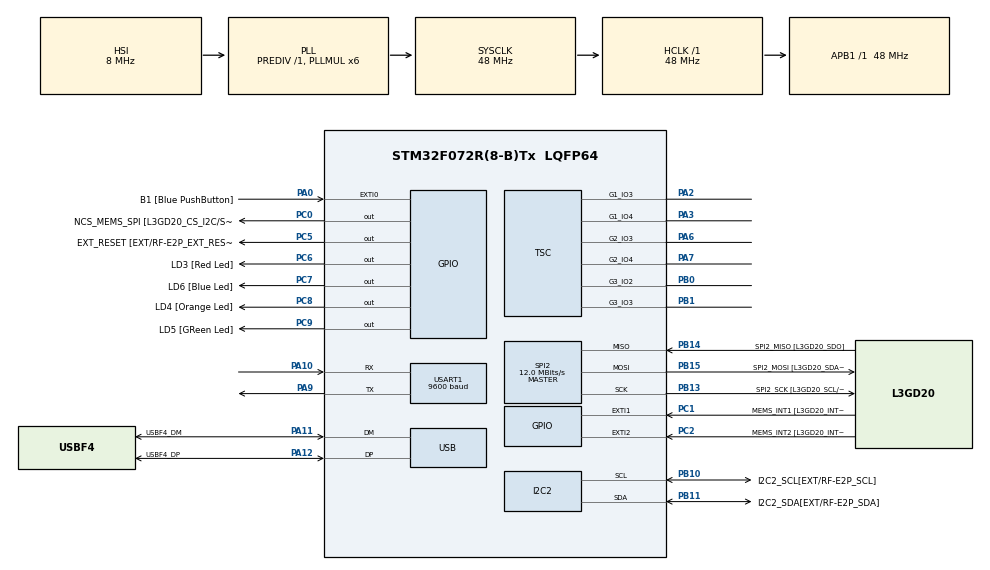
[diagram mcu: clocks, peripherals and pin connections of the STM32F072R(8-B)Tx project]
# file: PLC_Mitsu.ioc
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I2C2.Timing=0x20303E5D
Mcu.Family=STM32F0
Mcu.Name=STM32F072R(8-B)Tx
Mcu.Package=LQFP64
PA0.GPIO_Label=B1 [Blue PushButton]
PA0.GPIO_ModeDefaultEXTI=GPIO_MODE_EVT_RISING
PA0.Signal=GPXTI0
PA10.Mode=Asynchronous
PA10.Signal=USART1_RX
PA11.GPIO_Label=USBF4_DM
PA11.Mode=Device
PA11.Signal=USB_DM
PA12.GPIO_Label=USBF4_DP
PA12.Mode=Device
PA12.Signal=USB_DP
PA13.GPIO_Label=SWDIO
PA13.Mode=Serial_Wire
PA13.Signal=SYS_SWDIO
PA14.GPIO_Label=SWCLK
PA14.Mode=Serial_Wire
PA14.Signal=SYS_SWCLK
PA2.Mode=G1_IO3-Channel
PA2.Signal=TSC_G1_IO3
PA3.Mode=G1_IO4-Sampling
PA3.Signal=TSC_G1_IO4
PA6.Mode=G2_IO3-Channel
PA6.Signal=TSC_G2_IO3
PA7.Mode=G2_IO4-Sampling
PA7.Signal=TSC_G2_IO4
PA9.Mode=Asynchronous
PA9.Signal=USART1_TX
PB0.Mode=G3_IO2-Channel
PB0.Signal=TSC_G3_IO2
PB1.Mode=G3_IO3-Sampling
PB1.Signal=TSC_G3_IO3
PB10.GPIO_Label=I2C2_SCL[EXT/RF-E2P_SCL]
PB10.Mode=I2C
PB10.Signal=I2C2_SCL
PB11.GPIO_Label=I2C2_SDA[EXT/RF-E2P_SDA]
PB11.Mode=I2C
PB11.Signal=I2C2_SDA
PB13.GPIO_Label=SPI2_SCK [L3GD20_SCL/SPC]
PB13.Mode=Full_Duplex_Master
PB13.Signal=SPI2_SCK
PB14.GPIO_Label=SPI2_MISO [L3GD20_SDO]
PB14.Mode=Full_Duplex_Master
PB14.Signal=SPI2_MISO
PB15.GPIO_Label=SPI2_MOSI [L3GD20_SDA/SDI]
PB15.Mode=Full_Duplex_Master
PB15.Signal=SPI2_MOSI
PC0.GPIO_Label=NCS_MEMS_SPI [L3GD20_CS_I2C/SPI]
PC0.Signal=GPIO_Output
PC1.GPIO_Label=MEMS_INT1 [L3GD20_INT1]
PC1.GPIO_ModeDefaultEXTI=GPIO_MODE_EVT_RISING
PC1.Signal=GPXTI1
PC2.GPIO_Label=MEMS_INT2 [L3GD20_INT2]
PC2.GPIO_ModeDefaultEXTI=GPIO_MODE_EVT_RISING
PC2.Signal=GPXTI2
PC5.GPIO_Label=EXT_RESET [EXT/RF-E2P_EXT_RESET]
PC5.Signal=GPIO_Output
PC6.GPIO_Label=LD3 [Red Led]
PC6.Signal=GPIO_Output
PC7.GPIO_Label=LD6 [Blue Led]
PC7.Signal=GPIO_Output
PC8.GPIO_Label=LD4 [Orange Led]
PC8.Signal=GPIO_Output
PC9.GPIO_Label=LD5 [GReen Led]
PC9.Signal=GPIO_Output
ProjectManager.HeapSize=0x200
ProjectManager.StackSize=0x400
ProjectManager.TargetToolchain=STM32CubeIDE
RCC.AHBFreq_Value=48000000
RCC.APB1Freq_Value=48000000
RCC.APB1TimFreq_Value=48000000
RCC.HCLKFreq_Value=48000000
RCC.PLLMUL=RCC_PLL_MUL6
RCC.SYSCLKFreq_VALUE=48000000
RCC.SYSCLKSource=RCC_SYSCLKSOURCE_PLLCLK
SPI2.BaudRatePrescaler=SPI_BAUDRATEPRESCALER_4
SPI2.CalculateBaudRate=12.0 MBits/s
SPI2.Direction=SPI_DIRECTION_2LINES
SPI2.Mode=SPI_MODE_MASTER
SPI2.VirtualType=VM_MASTER
USART1.BaudRate=9600
USART1.Parity=PARITY_EVEN
USART1.VirtualMode-Asynchronous=VM_ASYNC
USB.phy_itface=PCD_PHY_EMBEDDED
USB.speed=PCD_SPEED_FULL
board=STM32F072B-DISCO

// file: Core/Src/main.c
/* USER CODE BEGIN Header */
/**
  ******************************************************************************
  * @file           : main.c
  * @brief          : Main program body
  ******************************************************************************
  * @attention
  *
  * <h2><center>&copy; Copyright (c) 2020 STMicroelectronics.
  * All rights reserved.</center></h2>
  *
  * This software component is licensed by ST under BSD 3-Clause license,
  * the "License"; You may not use this file except in compliance with the
  * License. You may obtain a copy of the License at:
  *                        opensource.org/licenses/BSD-3-Clause
  *
  ******************************************************************************
  */
/* USER CODE END Header */

#include "stdio.h"
#include "stdint.h"
#include "string.h"
#include "main.h"
#include "i2c.h"
#include "spi.h"
#include "tsc.h"
#include "usart.h"
#include "usb.h"
#include "gpio.h"

/* USER CODE BEGIN Includes */
#include "PLC_MITSU.h"

/* USER CODE END Includes */

/* USER CODE BEGIN PTD */

SystemStatus Sys_CurState=STATUS_OK;
/* USER CODE END PTD */

/* USER CODE BEGIN PD */

/*!
 * System status message
 */
static const char* SystemStatusMessage[] =
{
    "OK",
    "Error",
	"Busy",
    "TX timeout",
	"RX timeout"
};
/* USER CODE END PD */

void SystemClock_Config(void);
/* USER CODE BEGIN PFP */
#if DEBUG_PROBE

#ifdef __GNUC__
  /* With GCC/RAISONANCE, small printf (option LD Linker->Libraries->Small printf
     set to 'Yes') calls __io_putchar() */
  #define PUTCHAR_PROTOTYPE int __io_putchar(int ch)
#else
  #define PUTCHAR_PROTOTYPE int fputc(int ch, FILE *f)
#endif /* __GNUC__ */

/**
  * @brief  Retargets the C library printf function to the USART.
  * @param  None
  * @retval None
  */
PUTCHAR_PROTOTYPE
{
    /* Place your implementation of fputc here */
    /* e.g. write a character to the USART */
    HAL_UART_Transmit(&huart1, (uint8_t *)&ch, 1, 100);

    return ch;
}
#endif /*End of DEBUG_PROBE*/

void UpdateStatus(SystemStatus newStatus);
/* USER CODE END PFP */

int main(void)
{

  /* MCU Configuration--------------------------------------------------------*/

  /* Reset of all peripherals, Initializes the Flash interface and the Systick. */
  HAL_Init();

  /* Configure the system clock */
  SystemClock_Config();

  /* Initialize all configured peripherals */
  MX_GPIO_Init();
  MX_I2C2_Init();
  MX_SPI2_Init();
  MX_TSC_Init();
  MX_USART1_UART_Init();
  MX_USB_PCD_Init();

  /* Infinite loop */
  /* USER CODE BEGIN WHILE */
  while (1)
  {
	uint16_t data_read_d[10]={0};
	/******************************TEST PLC**************************************/
//	printf("Tested data input \n");
	// Input to test: 02 30 31 30 30 30 30 32 03 35 36
//	ProcessData(&data_read_d, 1, 1);
//	if( Data_Recv == STX)
//	{
//		for(int i=0; i< DATA_SIZE; i++)
//		{
//			DataRX[i]= 0;
//		}
//		PLC_curstate = PLC_DetectSTX;
//	}
//	else if (PLC_curstate == PLC_DetectSTX)
//	{
//
//	}

//	else
	/******************************TEST PLC**************************************/

  	Read_D(data_read_d, 0, 1);
//  	UpdateStatus(Sys_CurState);

  /****************************************************************************/
    /* USER CODE END WHILE */

  }
}

void SystemClock_Config(void)
{
  RCC_OscInitTypeDef RCC_OscInitStruct = {0};
  RCC_ClkInitTypeDef RCC_ClkInitStruct = {0};
  RCC_PeriphCLKInitTypeDef PeriphClkInit = {0};

  /** Initializes the CPU, AHB and APB busses clocks
  */
  RCC_OscInitStruct.OscillatorType = RCC_OSCILLATORTYPE_HSI|RCC_OSCILLATORTYPE_HSI48;
  RCC_OscInitStruct.HSIState = RCC_HSI_ON;
  RCC_OscInitStruct.HSI48State = RCC_HSI48_ON;
  RCC_OscInitStruct.HSICalibrationValue = RCC_HSICALIBRATION_DEFAULT;
  RCC_OscInitStruct.PLL.PLLState = RCC_PLL_ON;
  RCC_OscInitStruct.PLL.PLLSource = RCC_PLLSOURCE_HSI;
  RCC_OscInitStruct.PLL.PLLMUL = RCC_PLL_MUL6;
  RCC_OscInitStruct.PLL.PREDIV = RCC_PREDIV_DIV1;
  if (HAL_RCC_OscConfig(&RCC_OscInitStruct) != HAL_OK)
  {
    Error_Handler();
  }
  /** Initializes the CPU, AHB and APB busses clocks
  */
  RCC_ClkInitStruct.ClockType = RCC_CLOCKTYPE_HCLK|RCC_CLOCKTYPE_SYSCLK
                              |RCC_CLOCKTYPE_PCLK1;
  RCC_ClkInitStruct.SYSCLKSource = RCC_SYSCLKSOURCE_PLLCLK;
  RCC_ClkInitStruct.AHBCLKDivider = RCC_SYSCLK_DIV1;
  RCC_ClkInitStruct.APB1CLKDivider = RCC_HCLK_DIV1;

  if (HAL_RCC_ClockConfig(&RCC_ClkInitStruct, FLASH_LATENCY_1) != HAL_OK)
  {
    Error_Handler();
  }
  PeriphClkInit.PeriphClockSelection = RCC_PERIPHCLK_USB|RCC_PERIPHCLK_USART1;
  PeriphClkInit.Usart1ClockSelection = RCC_USART1CLKSOURCE_PCLK1;
  PeriphClkInit.UsbClockSelection = RCC_USBCLKSOURCE_HSI48;

  if (HAL_RCCEx_PeriphCLKConfig(&PeriphClkInit) != HAL_OK)
  {
    Error_Handler();
  }
}

/* USER CODE BEGIN 4 */
void UpdateStatus(SystemStatus newStatus)
{
	Sys_CurState = newStatus;
	#if DEBUG_PROBE
	printf("%s \n",SystemStatusMessage[newStatus]);
	#endif /*End of DEBUG_PROBE*/
}

/* USER CODE END 4 */

void Error_Handler(void)
{
}

/************************ (C) COPYRIGHT STMicroelectronics *****END OF FILE****/
